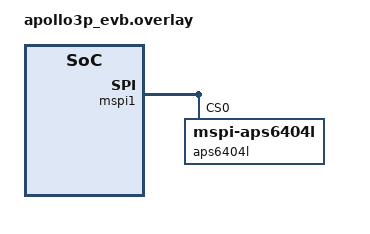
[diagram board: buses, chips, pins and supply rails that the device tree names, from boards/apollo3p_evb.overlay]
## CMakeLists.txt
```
# SPDX-License-Identifier: Apache-2.0

cmake_minimum_required(VERSION 3.20.0)

find_package(Zephyr REQUIRED HINTS $ENV{ZEPHYR_BASE})
project(memc)

# MSPI is not usable on the Apollo330P and Apollo510L EVBs. Fail at configure
# time rather than produce an image that cannot work. The boards are excluded
# from this sample's twister scenarios as well; this catches a manual build.
if(CONFIG_BOARD_APOLLO330MP_EVB OR CONFIG_BOARD_APOLLO510DL_EVB)
  message(FATAL_ERROR
    "MSPI is not supported on ${BOARD}. The Apollo330P and Apollo510L EVBs are "
    "quarantined for MSPI; build this sample on another Ambiq board.")
endif()



if(CONFIG_MEMC_MCUX_FLEXSPI)
  target_include_directories(app PRIVATE ${ZEPHYR_BASE}/drivers/memc)
endif()

if(CONFIG_MEMC_MSPI)
  target_include_directories(app PRIVATE ${ZEPHYR_BASE}/include/zephyr/drivers)
  target_include_directories(app PRIVATE ${ZEPHYR_BASE}/drivers/mspi)
endif()

target_sources(app PRIVATE src/main.c)
```

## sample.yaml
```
sample:
  description: Memory controller sample
  name: memc driver sample
common:
  tags: memc
  harness: console
  harness_config:
    type: one_line
    regex:
      - "Read data matches written data"
tests:
  sample.drivers.memc:
    filter: dt_alias_exists("sram-ext")
    integration_platforms:
      - mimxrt595_evk/mimxrt595s/cm33
  sample.drivers.memc.mspi:
    tags: mspi
    filter: dt_alias_exists("psram0")
    platform_exclude:
      - apollo330mP_evb
      - apollo510dL_evb
    integration_platforms:
      - apollo3p_evb
      - apollo4p_evb
      - apollo510_evb
      - apollo510b_evb
    extra_args:
      - platform:apollo4p_evb/apollo4p:SHIELD=ap4_evb_disp_shield_rev2
```

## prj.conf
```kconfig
CONFIG_MEMC=y
CONFIG_MEMC_AMBIQ_MSPI_APS6404L=y

#CONFIG_STDOUT_CONSOLE=y
CONFIG_GPIO=y
CONFIG_LOG=y
CONFIG_LOG_DEFAULT_LEVEL=0
CONFIG_MSPI=y
CONFIG_MSPI_INIT_PRIORITY=40
CONFIG_MEMC_INIT_PRIORITY=50
CONFIG_PM_DEVICE=y
```

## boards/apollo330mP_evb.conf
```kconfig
# Copyright (c) 2026 Ambiq Micro Inc. <www.ambiq.com>
# SPDX-License-Identifier: Apache-2.0

CONFIG_MEMC=y
CONFIG_MEMC_MSPI_APS_Z8=y
CONFIG_MEMC_MSPI_APS25616N=y
CONFIG_LOG=y
CONFIG_LOG_DEFAULT_LEVEL=0
```

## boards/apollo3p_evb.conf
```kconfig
CONFIG_MEMC_MSPI_APS6404L=y
CONFIG_MSPI_ASYNC=y
CONFIG_LOG=y
CONFIG_LOG_DEFAULT_LEVEL=0
CONFIG_MSPI_INIT_PRIORITY=40
CONFIG_MEMC_INIT_PRIORITY=50
CONFIG_PM_DEVICE=y
```

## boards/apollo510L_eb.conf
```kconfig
# Copyright (c) 2024 Ambiq Micro Inc. <www.ambiq.com>
# SPDX-License-Identifier: Apache-2.0

CONFIG_MEMC=y
CONFIG_MEMC_MSPI_APS_Z8=y
CONFIG_MEMC_MSPI_APS25616N=y
CONFIG_LOG=y
CONFIG_LOG_DEFAULT_LEVEL=0
```

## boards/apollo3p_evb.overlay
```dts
/*
 * Copyright (c) 2024, Ambiq Micro Inc. <www.ambiq.com>
 *
 * SPDX-License-Identifier: Apache-2.0
 */

/ {
	aliases {
		psram0 = &aps6404l;
	};
};

&gpio64_95 {
	status = "okay";
};

&gpio32_63 {
	status = "okay";
};

&mspi1 {

	pinctrl-0 = <&mspi1_default>;
	pinctrl-1 = <&mspi1_sleep>;
	pinctrl-2 = <&mspi1_psram>;
	pinctrl-names = "default","sleep","psram";
	status = "okay";

	ce-gpios = <&gpio64_95 5 GPIO_ACTIVE_LOW>,
		   <&gpio32_63 18 GPIO_ACTIVE_LOW>;

	cmdq-buffer-location = ".mspi_buff";
	cmdq-buffer-size = <256>;

	aps6404l: aps6404l@0 {
		compatible = "mspi-aps6404l";
		size = <DT_SIZE_M(64)>;
		reg = <0>;
		status = "okay";
		mspi-max-frequency = <48000000>;
		mspi-io-mode = "MSPI_IO_MODE_QUAD";
		mspi-data-rate = "MSPI_DATA_RATE_SINGLE";
		mspi-hardware-ce-num = <0>;
		read-command = <0xEB>;
		write-command = <0x38>;
		command-length = "INSTR_1_BYTE";
		address-length = "ADDR_3_BYTE";
		rx-dummy = <6>;
		tx-dummy = <0>;
		xip-config = <1 0 0 0>;
		ce-break-config = <1024 3>;
		ambiq,timing-config-mask = <3>;
		ambiq,timing-config = <0 6 0 0 0 0 0 0>;
	};

};

&pinctrl {

    mspi1_sleep: mspi1_sleep{

		group1 {
			pinmux = <GPIO_P51>,
				 <GPIO_P52>,
				 <GPIO_P53>,
				 <GPIO_P54>,
				 <GPIO_P55>,
				 <GPIO_P56>,
				 <GPIO_P57>,
				 <GPIO_P58>,
				 <GPIO_P59>,
				 <GPIO_P69>,
				 <GPIO_P50>;
		};

	};

	mspi1_psram: mspi1_psram{

		group1 {
			pinmux = <MSPI1_0_P51>,
				 <MSPI1_1_P52>,
				 <MSPI1_2_P53>,
				 <MSPI1_3_P54>,
				 <MSPI1_4_P55>,
				 <MSPI1_5_P56>,
				 <MSPI1_6_P57>,
				 <MSPI1_7_P58>;
			drive-strength = "0.75";
			ambiq,iom-num = <1>;
		};

		group2 {
			pinmux = <MSPI1_8_P59>;
			drive-strength = "0.75";
			ambiq,iom-nce-module = <0>;
			ambiq,iom-num = <2>;
		};

		group3 {
			pinmux = <NCE69_P69>;
			drive-strength = "1.0";
			ambiq,iom-nce-module = <0>;
			ambiq,iom-num = <1>;
		};

		group4 {
			pinmux = <GPIO_P50>;
		};
	};
};
```

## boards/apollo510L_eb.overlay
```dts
/*
 * Copyright (c) 2025, Ambiq Micro Inc. <www.ambiq.com>
 *
 * SPDX-License-Identifier: Apache-2.0
 */

/ {
	aliases {
		psram0 = &aps25616n;
	};
};
```

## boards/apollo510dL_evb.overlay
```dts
/*
 * Copyright (c) 2026, Ambiq Micro Inc. <www.ambiq.com>
 *
 * SPDX-License-Identifier: Apache-2.0
 */

/ {
	aliases {
		psram0 = &aps25616ba;
	};
};
```

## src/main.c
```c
/*
 * Copyright 2022 NXP
 *
 * SPDX-License-Identifier: Apache-2.0
 */

#include <zephyr/kernel.h>
#include <zephyr/logging/log.h>
#include <zephyr/device.h>
#include <zephyr/devicetree.h>
#include <stdio.h>
#include <string.h>
#include <zephyr/drivers/mspi.h>

#if DT_HAS_COMPAT_STATUS_OKAY(nxp_imx_flexspi)
/* Use memc API to get AHB base address for the device */
#include "memc_mcux_flexspi.h"
#define FLEXSPI_DEV DEVICE_DT_GET(DT_PARENT(DT_ALIAS(sram_ext)))
#define MEMC_PORT DT_REG_ADDR(DT_ALIAS(sram_ext))
#define MEMC_BASE memc_flexspi_get_ahb_address(FLEXSPI_DEV, MEMC_PORT, 0)
#define MEMC_SIZE (DT_PROP(DT_ALIAS(sram_ext), size) / 8)
#elif DT_HAS_COMPAT_STATUS_OKAY(ambiq_mspi_controller)
#define MSPI_ DT_BUS(DT_ALIAS(psram0))
#define mspi_get_xip_address(controller) DT_REG_ADDR_BY_IDX(controller, 1)
#define MEMC_BASE (void *)(mspi_get_xip_address(MSPI_))
#define MEMC_SIZE (DT_PROP(DT_ALIAS(psram0), size) / 8)
#endif

void dump_memory(uint8_t *p, uint32_t size)
{
	uint32_t i, j;

	for (i = 0, j = 0; j < (size / 16); i += 16, j++) {
		printk("%02x %02x %02x %02x %02x %02x %02x %02x ",
			p[i], p[i+1], p[i+2], p[i+3],
			p[i+4], p[i+5], p[i+6], p[i+7]);
		printk("%02x %02x %02x %02x %02x %02x %02x %02x\n",
			p[i+8], p[i+9], p[i+10], p[i+11],
			p[i+12], p[i+13], p[i+14], p[i+15]);
		/* Split dump at 256B boundaries */
		if (((i + 16) & 0xFF) == 0) {
			printk("\n");
		}
	}
	/* Dump any remaining data after 16 byte blocks */
	for (; i < size; i++) {
		printk("%02x ", p[i]);
	}
	printk("\n");
}

#define BUF_SIZE 1024

uint8_t memc_write_buffer[BUF_SIZE];
uint8_t memc_read_buffer[BUF_SIZE];

void async_cb(struct mspi_callback_context *mspi_cb_ctx, uint32_t status)
{
	mspi_cb_ctx->mspi_evt.evt_data.status = status;
	if (mspi_cb_ctx->mspi_evt.evt_data.payload_idx == mspi_cb_ctx->mspi_evt.evt_data.xfer->ui32NumPayload - 1) {
		*(volatile uint32_t *)mspi_cb_ctx->ctx = 0;
	}
}

struct mspi_buf buf1[] = {
	{
		.ui16DeviceInstr = 0x38,
		.ui32DeviceAddr = 0,
		.ui32NumBytes = 256,
		.pui32Buffer = memc_write_buffer,
		.eCBMask = MSPI_BUS_NO_CB,
	},
	{
		.ui16DeviceInstr = 0x38,
		.ui32DeviceAddr = 256,
		.ui32NumBytes = 256,
		.pui32Buffer = memc_write_buffer + 256,
		.eCBMask = MSPI_BUS_NO_CB,
	},
	{
		.ui16DeviceInstr = 0x38,
		.ui32DeviceAddr = 512,
		.ui32NumBytes = 256,
		.pui32Buffer = memc_write_buffer + 512,
		.eCBMask = MSPI_BUS_NO_CB,
	},
	{
		.ui16DeviceInstr = 0x38,
		.ui32DeviceAddr = 512 + 256,
		.ui32NumBytes = 256,
		.pui32Buffer = memc_write_buffer + 512 + 256,
		.eCBMask = MSPI_BUS_XFER_COMPLETE_CB,
	},
};

struct mspi_buf buf2[] = {
	{
		.ui16DeviceInstr = 0xEB,
		.ui32DeviceAddr = 0,
		.ui32NumBytes = 256,
		.pui32Buffer = memc_read_buffer,
		.eCBMask = MSPI_BUS_NO_CB,
	},
	{
		.ui16DeviceInstr = 0xEB,
		.ui32DeviceAddr = 256,
		.ui32NumBytes = 256,
		.pui32Buffer = memc_read_buffer + 256,
		.eCBMask = MSPI_BUS_NO_CB,
	},
	{
		.ui16DeviceInstr = 0xEB,
		.ui32DeviceAddr = 512,
		.ui32NumBytes = 256,
		.pui32Buffer = memc_read_buffer + 512,
		.eCBMask = MSPI_BUS_NO_CB,
	},
	{
		.ui16DeviceInstr = 0xEB,
		.ui32DeviceAddr = 512 + 256,
		.ui32NumBytes = 256,
		.pui32Buffer = memc_read_buffer + 512 + 256,
		.eCBMask = MSPI_BUS_XFER_COMPLETE_CB,
	},
};

struct mspi_xfer_packet pack1 = {
	.eMode = MSPI_DMA,
	.eDirection = MSPI_TX,
	.ui32TXDummy = 0,
	.ui16InstrLength = 1,
	.ui16AddrLength = 3,
	.ui8Priority = 1,
	.pPayload = &buf1,
	.ui32NumPayload = sizeof(buf2) / sizeof(struct mspi_buf),
};

struct mspi_xfer_packet pack2 = {
	.eMode = MSPI_DMA,
	.eDirection = MSPI_RX,
	.ui32RXDummy = 6,
	.ui16InstrLength = 1,
	.ui16AddrLength = 3,
	.ui8Priority = 1,
	.pPayload = &buf2,
	.ui32NumPayload = sizeof(buf2) / sizeof(struct mspi_buf),
};

int main(void)
{
	const struct device *dev = DEVICE_DT_GET(DT_ALIAS(psram0));
	const struct device *controller = DEVICE_DT_GET(DT_BUS(DT_ALIAS(psram0)));
	struct mspi_dev_id *dev_id = 0x15638; /** need to make sure this is the same as dev->config->dev_id*/
	struct mspi_callback_context cb_ctx1,cb_ctx2;
	uint8_t *memc = (uint8_t *)MEMC_BASE;
	uint32_t i, j;

	volatile uint32_t writestatus, readstatus = ~0;

	/* Initialize write buffer */
	for (i = 0; i < BUF_SIZE; i++) {
		memc_write_buffer[i] = (uint8_t)i;
	}
	cb_ctx1.ctx = &writestatus;
	cb_ctx2.ctx = &readstatus;
	mspi_register_callback(controller, dev_id, MSPI_BUS_XFER_COMPLETE, (mspi_callback_handler_t)async_cb, &cb_ctx1);
	mspi_transceive_async(controller, dev_id, &pack1);

	mspi_register_callback(controller, dev_id, MSPI_BUS_XFER_COMPLETE, (mspi_callback_handler_t)async_cb, &cb_ctx2);
	mspi_transceive_async(controller, dev_id, &pack2);

	while(writestatus != 0 || readstatus != 0) {
		printk("w:%d,r:%d\n", cb_ctx1.mspi_evt.evt_data.payload_idx, cb_ctx2.mspi_evt.evt_data.payload_idx);
		k_busy_wait(10);
	}

	for (j = 0; j < BUF_SIZE; j++) {
		if (memc_write_buffer[j] != memc_read_buffer[j])
		{
			printk("Error: data differs at offset %d\n", j);
			break;
		}
	}
	if (j == BUF_SIZE) {
		printk("Read data matches written data\n");
	}

#if 0
	printk("Writing to memory region with base %p, size 0x%0x\n\n",
		MEMC_BASE, MEMC_SIZE);
	/* Copy write buffer into memc region */
	for (i = 0, j = 0; j < (MEMC_SIZE / BUF_SIZE); i += BUF_SIZE, j++) {
		memcpy(memc + i, memc_write_buffer, BUF_SIZE);
	}
	/* Copy any remaining space bytewise */
	for (; i < MEMC_SIZE; i++) {
		memc[i] = memc_write_buffer[i];
	}
	/* Read from memc region into buffer */
	for (i = 0, j = 0; j < (MEMC_SIZE / BUF_SIZE); i += BUF_SIZE, j++) {
		memcpy(memc_read_buffer, memc + i, BUF_SIZE);
		/* Compare memory */
		if (memcmp(memc_read_buffer, memc_write_buffer, BUF_SIZE)) {
			printk("Error: read data differs in range [0x%x- 0x%x]\n",
				i, i + (BUF_SIZE - 1));
			return 0;
		}
	}
	/* Copy any remaining space bytewise */
	for (; i < MEMC_SIZE; i++) {
		memc_read_buffer[i] = memc[i];
		if (memc_write_buffer[i] != memc_read_buffer[i]) {
			printk("Error: read data differs at offset 0x%x\n", i);
			return 0;
		}
	}
	printk("First 1KB of Data in memory:\n");
	printk("===========================\n");
	dump_memory(memc, MIN(MEMC_SIZE, KB(1)));

	printk("Read data matches written data\n");
#endif
	return 0;
}
```
